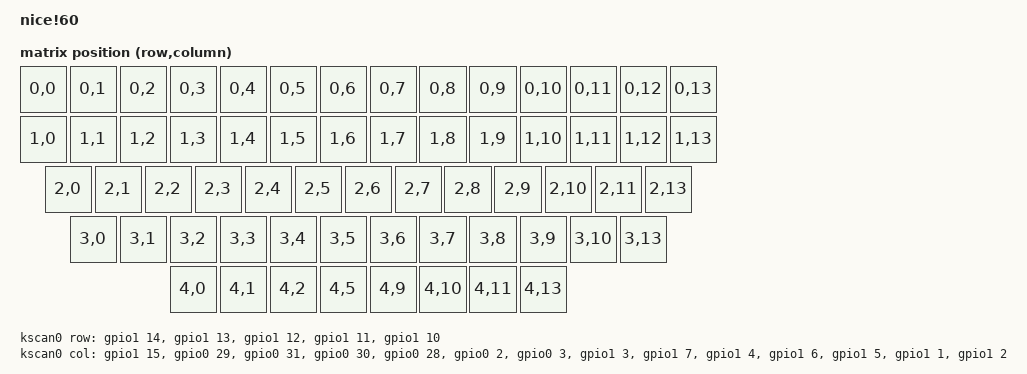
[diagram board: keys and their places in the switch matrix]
/*
 * Copyright (c) 2021 Nick Winans
 *
 * SPDX-License-Identifier: MIT
 */

/dts-v1/;
#include <nordic/nrf52840_qiaa.dtsi>

#include <dt-bindings/led/led.h>
#include <dt-bindings/zmk/matrix_transform.h>

/ {
	model = "nice!60";
	compatible = "nice,60";

	chosen {
		zephyr,code-partition = &code_partition;
		zephyr,sram = &sram0;
		zephyr,flash = &flash0;
		zephyr,console = &cdc_acm_uart;
		zmk,battery = &vbatt;
		zmk,kscan = &kscan0;
		zmk,matrix_transform = &default_transform;
		zmk,underglow = &led_strip;
	};

	default_transform: keymap_transform_0 {
		compatible = "zmk,matrix-transform";
		columns = <14>;
		rows = <5>;
		map = <
RC(0,0) RC(0,1) RC(0,2) RC(0,3) RC(0,4) RC(0,5) RC(0,6) RC(0,7) RC(0,8) RC(0,9) RC(0,10) RC(0,11) RC(0,12)     RC(0,13)
RC(1,0)   RC(1,1) RC(1,2) RC(1,3) RC(1,4) RC(1,5) RC(1,6) RC(1,7) RC(1,8) RC(1,9) RC(1,10) RC(1,11) RC(1,12)   RC(1,13)
RC(2,0)     RC(2,1) RC(2,2) RC(2,3) RC(2,4) RC(2,5) RC(2,6) RC(2,7) RC(2,8) RC(2,9) RC(2,10) RC(2,11)          RC(2,13)
RC(3,0)       RC(3,1) RC(3,2) RC(3,3) RC(3,4) RC(3,5) RC(3,6) RC(3,7) RC(3,8) RC(3,9)    RC(3,10)              RC(3,13)
RC(4,0)   RC(4,1)   RC(4,2)                      RC(4,5)                       RC(4,9)   RC(4,10)   RC(4,11)   RC(4,13)
		>;
	};

	kscan0: kscan {
		compatible = "zmk,kscan-gpio-matrix";
		label = "KSCAN";

		diode-direction = "col2row";
		row-gpios
			= <&gpio1 14 (GPIO_ACTIVE_HIGH | GPIO_PULL_DOWN)>
			, <&gpio1 13 (GPIO_ACTIVE_HIGH | GPIO_PULL_DOWN)>
			, <&gpio1 12 (GPIO_ACTIVE_HIGH | GPIO_PULL_DOWN)>
			, <&gpio1 11 (GPIO_ACTIVE_HIGH | GPIO_PULL_DOWN)>
			, <&gpio1 10 (GPIO_ACTIVE_HIGH | GPIO_PULL_DOWN)>
			;
		col-gpios
			= <&gpio1 15 GPIO_ACTIVE_HIGH>
			, <&gpio0 29 GPIO_ACTIVE_HIGH>
			, <&gpio0 31 GPIO_ACTIVE_HIGH>
			, <&gpio0 30 GPIO_ACTIVE_HIGH>
			, <&gpio0 28 GPIO_ACTIVE_HIGH>
			, <&gpio0 2  GPIO_ACTIVE_HIGH>
			, <&gpio0 3  GPIO_ACTIVE_HIGH>
			, <&gpio1 3  GPIO_ACTIVE_HIGH>
			, <&gpio1 7  GPIO_ACTIVE_HIGH>
			, <&gpio1 4  GPIO_ACTIVE_HIGH>
			, <&gpio1 6  GPIO_ACTIVE_HIGH>
			, <&gpio1 5  GPIO_ACTIVE_HIGH>
			, <&gpio1 1  GPIO_ACTIVE_HIGH>
			, <&gpio1 2  GPIO_ACTIVE_HIGH>
			;
	};

	leds {
		compatible = "gpio-leds";
		blue_led: led_0 {
			gpios = <&gpio0 26 GPIO_ACTIVE_HIGH>;
			label = "Blue LED";
		};
	};

	ext-power {
		compatible = "zmk,ext-power-generic";
		label = "EXT_POWER";
		control-gpios = <&gpio0 5 GPIO_ACTIVE_LOW>;
	};

	vbatt: vbatt {
		compatible = "zmk,battery-voltage-divider";
		label = "BATTERY";
		io-channels = <&adc 2>;
		output-ohms = <2000000>;
		full-ohms = <(2000000 + 806000)>;
	};
};

&adc {
	status = "okay";
};

&gpiote {
	status = "okay";
};

&gpio0 {
	status = "okay";
};

&gpio1 {
	status = "okay";
};

&spi0 {
	compatible = "nordic,nrf-spim";
	/* Cannot be used together with i2c0. */
	status = "okay";
	sck-pin = <12>;
	mosi-pin = <27>;
	miso-pin = <13>;

	led_strip: ws2812@0 {
		compatible = "worldsemi,ws2812-spi";
		label = "WS2812";

		/* SPI */
		reg = <0>; /* ignored, but necessary for SPI bindings */
		spi-max-frequency = <4000000>;

		/* WS2812 */
		chain-length = <12>; /* LED strip length */
		spi-one-frame = <0x70>;
		spi-zero-frame = <0x40>;
		color-mapping = <LED_COLOR_ID_GREEN LED_COLOR_ID_RED LED_COLOR_ID_BLUE>;
	};
};

&usbd {
	status = "okay";
	cdc_acm_uart: cdc_acm_uart {
		compatible = "zephyr,cdc-acm-uart";
		label = "CDC_ACM_0";
	};
};

&flash0 {
	/*
	 * For more information, see:
	 * http://docs.zephyrproject.org/latest/devices/dts/flash_partitions.html
	 */
	partitions {
		compatible = "fixed-partitions";
		#address-cells = <1>;
		#size-cells = <1>;

		sd_partition: partition@0 {
			label = "mbr";
			reg = <0x00000000 0x00001000>;
		};

		code_partition: partition@1000 {
			label = "code_partition";
			reg = <0x00001000 0x000d3000>;
		};

		/*
		 * The flash starting at 0x000d4000 and ending at
		 * 0x000f3fff is reserved for use by the application.
		 */

		/*
		 * Storage partition will be used by FCB/LittleFS/NVS
		 * if enabled.
		 */
		storage_partition: partition@d4000 {
			label = "storage";
			reg = <0x000d4000 0x00020000>;
		};

		boot_partition: partition@f4000 {
			label = "adafruit_boot";
			reg = <0x000f4000 0x0000c000>;
		};
	};
};
